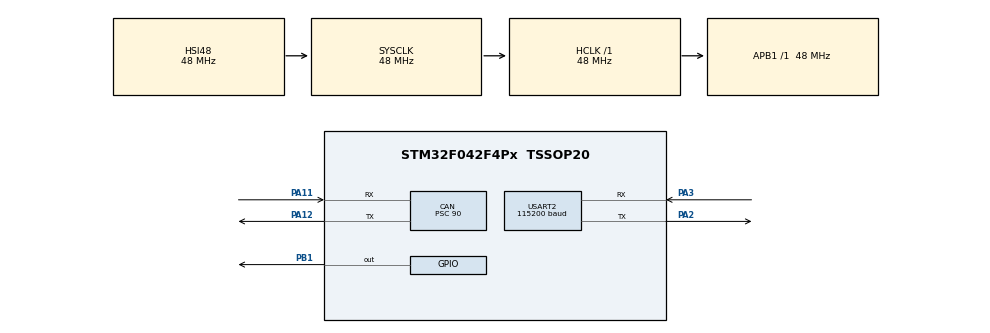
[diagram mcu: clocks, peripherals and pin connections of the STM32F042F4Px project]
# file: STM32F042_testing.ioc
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CAN.BS1=CAN_BS1_11TQ
CAN.BS2=CAN_BS2_4TQ
CAN.CalculateTimeQuantum=1875.0
CAN.Mode=CAN_MODE_LOOPBACK
CAN.Prescaler=90
Mcu.Family=STM32F0
Mcu.Name=STM32F042F4Px
Mcu.Package=TSSOP20
PA11.Mode=Master
PA11.Signal=CAN_RX
PA12.Mode=Master
PA12.Signal=CAN_TX
PA2.Mode=Asynchronous
PA2.Signal=USART2_TX
PA3.Mode=Asynchronous
PA3.Signal=USART2_RX
PB1.Signal=GPIO_Output
ProjectManager.HeapSize=0x200
ProjectManager.StackSize=0x400
ProjectManager.TargetToolchain=SW4STM32
RCC.AHBFreq_Value=48000000
RCC.APB1Freq_Value=48000000
RCC.APB1TimFreq_Value=48000000
RCC.HCLKFreq_Value=48000000
RCC.SYSCLKFreq_VALUE=48000000
RCC.SYSCLKSource=RCC_SYSCLKSOURCE_HSI48
TIM2.Period=4800
USART2.BaudRate=115200
USART2.VirtualMode-Asynchronous=VM_ASYNC
VP_SYS_VS_PINREMAP.Mode=PINREMAP
VP_TIM2_VS_ClockSourceINT.Mode=Internal
board=custom

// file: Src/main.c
/* USER CODE BEGIN Header */
/**
  ******************************************************************************
  * @file           : main.c
  * @brief          : Main program body
  ******************************************************************************
  * @attention
  *
  * <h2><center>&copy; Copyright (c) 2019 STMicroelectronics.
  * All rights reserved.</center></h2>
  *
  * This software component is licensed by ST under BSD 3-Clause license,
  * the "License"; You may not use this file except in compliance with the
  * License. You may obtain a copy of the License at:
  *                        opensource.org/licenses/BSD-3-Clause
  *
  ******************************************************************************
  */
/* USER CODE END Header */

#include "main.h"

CAN_HandleTypeDef hcan;

TIM_HandleTypeDef htim2;

UART_HandleTypeDef huart2;

void SystemClock_Config(void);
static void MX_GPIO_Init(void);
static void MX_CAN_Init(void);
static void MX_TIM2_Init(void);
static void MX_USART2_UART_Init(void);

/* USER CODE BEGIN 0 */

CAN_TxHeaderTypeDef   TxHeader;
CAN_RxHeaderTypeDef   RxHeader;
uint8_t               TxData[8];
uint8_t               RxData[8];
uint32_t              TxMailbox;

uint8_t datatest[8] = {0x00,0x01,0x02,0x03,0x04,0x05,0x06,0x07};

uint8_t CAN_Transmit(uint32_t addr, uint32_t data_size, uint8_t * tab_data)
{
//    if(data_size > 8 || sizeof(tab_data) / sizeof(tab_data[0]) <= data_size)
//	return 0;

    TxHeader.StdId = addr;
    TxHeader.DLC = data_size;

    for(int i = 0; i < data_size; i++)
    {
    	TxData[i] = tab_data[i];
    }
    HAL_CAN_AddTxMessage(&hcan, &TxHeader, TxData, &TxMailbox);
    return 1;
}

void CAN_Config (void)
{
  CAN_FilterTypeDef sFilterConfig;

  sFilterConfig.FilterBank = 0;
  sFilterConfig.FilterMode = CAN_FILTERMODE_IDMASK;
  sFilterConfig.FilterScale = CAN_FILTERSCALE_32BIT;
  sFilterConfig.FilterIdHigh = 0;
  sFilterConfig.FilterIdLow = 0;
  sFilterConfig.FilterMaskIdHigh = 0;
  sFilterConfig.FilterMaskIdLow = 0;
  sFilterConfig.FilterFIFOAssignment = CAN_RX_FIFO0;
  sFilterConfig.FilterActivation = ENABLE;
  sFilterConfig.SlaveStartFilterBank = 14;

  HAL_CAN_ConfigFilter(&hcan, &sFilterConfig);

  HAL_CAN_Start (& hcan);

//  HAL_CAN_ActivateNotification (& hcan, CAN_IT_RX_FIFO0_MSG_PENDING);

  TxHeader.StdId = 0x320;
  TxHeader.ExtId = 0x01;
  TxHeader.RTR = CAN_RTR_DATA;
  TxHeader.IDE = CAN_ID_STD;
  TxHeader.DLC = 8;
//  TxHeader.TransmitGlobalTime = DISABLE;
}

void HAL_CAN_RxFifo0MsgPendingCallback (CAN_HandleTypeDef * hcan)
{
	HAL_CAN_GetRxMessage (hcan, CAN_RX_FIFO0, & RxHeader, RxData);
}
/* USER CODE END 0 */

int main(void)
{

  /* MCU Configuration--------------------------------------------------------*/

  /* Reset of all peripherals, Initializes the Flash interface and the Systick. */
  HAL_Init();

  /* Configure the system clock */
  SystemClock_Config();

  /* Initialize all configured peripherals */
//  MX_GPIO_Init();
  MX_CAN_Init();
  MX_TIM2_Init();
  MX_USART2_UART_Init();
  /* USER CODE BEGIN 2 */

  CAN_Config();
  /* USER CODE END 2 */

  /* Infinite loop */
  /* USER CODE BEGIN WHILE */
  while (1)
  {
	 CAN_Transmit(0x0f,8,datatest);
//	 HAL_CAN_AddTxMessage(&hcan, &TxHeader, datatest, &TxMailbox);
	 HAL_GPIO_TogglePin(GPIOB,GPIO_PIN_1);
	 HAL_Delay(10);
    /* USER CODE END WHILE */

  }
}

void SystemClock_Config(void)
{
  RCC_OscInitTypeDef RCC_OscInitStruct = {0};
  RCC_ClkInitTypeDef RCC_ClkInitStruct = {0};

  /** Initializes the CPU, AHB and APB busses clocks
  */
  RCC_OscInitStruct.OscillatorType = RCC_OSCILLATORTYPE_HSI48;
  RCC_OscInitStruct.HSI48State = RCC_HSI48_ON;
  RCC_OscInitStruct.PLL.PLLState = RCC_PLL_NONE;
  if (HAL_RCC_OscConfig(&RCC_OscInitStruct) != HAL_OK)
  {
    Error_Handler();
  }
  /** Initializes the CPU, AHB and APB busses clocks
  */
  RCC_ClkInitStruct.ClockType = RCC_CLOCKTYPE_HCLK|RCC_CLOCKTYPE_SYSCLK
                              |RCC_CLOCKTYPE_PCLK1;
  RCC_ClkInitStruct.SYSCLKSource = RCC_SYSCLKSOURCE_HSI48;
  RCC_ClkInitStruct.AHBCLKDivider = RCC_SYSCLK_DIV1;
  RCC_ClkInitStruct.APB1CLKDivider = RCC_HCLK_DIV1;

  if (HAL_RCC_ClockConfig(&RCC_ClkInitStruct, FLASH_LATENCY_1) != HAL_OK)
  {
    Error_Handler();
  }
}

static void MX_CAN_Init(void)
{

  hcan.Instance = CAN;
  hcan.Init.Prescaler = 90;
  hcan.Init.Mode = CAN_MODE_LOOPBACK;
  hcan.Init.SyncJumpWidth = CAN_SJW_1TQ;
  hcan.Init.TimeSeg1 = CAN_BS1_11TQ;
  hcan.Init.TimeSeg2 = CAN_BS2_4TQ;
  hcan.Init.TimeTriggeredMode = DISABLE;
  hcan.Init.AutoBusOff = DISABLE;
  hcan.Init.AutoWakeUp = DISABLE;
  hcan.Init.AutoRetransmission = DISABLE;
  hcan.Init.ReceiveFifoLocked = DISABLE;
  hcan.Init.TransmitFifoPriority = DISABLE;
  if (HAL_CAN_Init(&hcan) != HAL_OK)
  {
    Error_Handler();
  }

}

static void MX_TIM2_Init(void)
{

  TIM_ClockConfigTypeDef sClockSourceConfig = {0};
  TIM_MasterConfigTypeDef sMasterConfig = {0};

  htim2.Instance = TIM2;
  htim2.Init.Prescaler = 0;
  htim2.Init.CounterMode = TIM_COUNTERMODE_UP;
  htim2.Init.Period = 4800;
  htim2.Init.ClockDivision = TIM_CLOCKDIVISION_DIV1;
  htim2.Init.AutoReloadPreload = TIM_AUTORELOAD_PRELOAD_DISABLE;
  if (HAL_TIM_Base_Init(&htim2) != HAL_OK)
  {
    Error_Handler();
  }
  sClockSourceConfig.ClockSource = TIM_CLOCKSOURCE_INTERNAL;
  if (HAL_TIM_ConfigClockSource(&htim2, &sClockSourceConfig) != HAL_OK)
  {
    Error_Handler();
  }
  sMasterConfig.MasterOutputTrigger = TIM_TRGO_RESET;
  sMasterConfig.MasterSlaveMode = TIM_MASTERSLAVEMODE_DISABLE;
  if (HAL_TIMEx_MasterConfigSynchronization(&htim2, &sMasterConfig) != HAL_OK)
  {
    Error_Handler();
  }

}

static void MX_USART2_UART_Init(void)
{

  huart2.Instance = USART2;
  huart2.Init.BaudRate = 115200;
  huart2.Init.WordLength = UART_WORDLENGTH_8B;
  huart2.Init.StopBits = UART_STOPBITS_1;
  huart2.Init.Parity = UART_PARITY_NONE;
  huart2.Init.Mode = UART_MODE_TX_RX;
  huart2.Init.HwFlowCtl = UART_HWCONTROL_NONE;
  huart2.Init.OverSampling = UART_OVERSAMPLING_16;
  huart2.Init.OneBitSampling = UART_ONE_BIT_SAMPLE_DISABLE;
  huart2.AdvancedInit.AdvFeatureInit = UART_ADVFEATURE_NO_INIT;
  if (HAL_UART_Init(&huart2) != HAL_OK)
  {
    Error_Handler();
  }

}

static void MX_GPIO_Init(void)
{
  GPIO_InitTypeDef GPIO_InitStruct = {0};

  /* GPIO Ports Clock Enable */
  __HAL_RCC_GPIOA_CLK_ENABLE();
  __HAL_RCC_GPIOB_CLK_ENABLE();

  /*Configure GPIO pin Output Level */
  HAL_GPIO_WritePin(GPIOB, GPIO_PIN_1, GPIO_PIN_RESET);

  /*Configure GPIO pin : PB1 */
  GPIO_InitStruct.Pin = GPIO_PIN_1;
  GPIO_InitStruct.Mode = GPIO_MODE_OUTPUT_PP;
  GPIO_InitStruct.Pull = GPIO_NOPULL;
  GPIO_InitStruct.Speed = GPIO_SPEED_FREQ_LOW;
  HAL_GPIO_Init(GPIOB, &GPIO_InitStruct);

}

void Error_Handler(void)
{
}

/************************ (C) COPYRIGHT STMicroelectronics *****END OF FILE****/
